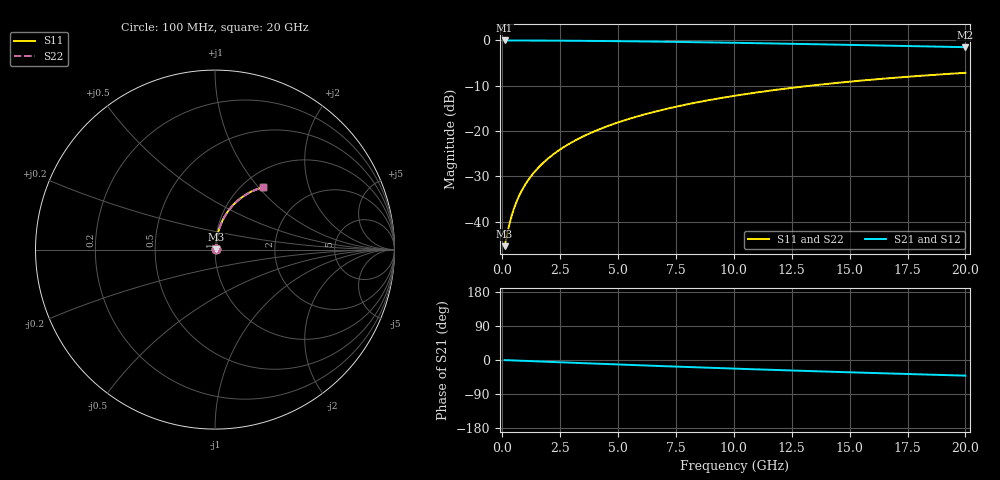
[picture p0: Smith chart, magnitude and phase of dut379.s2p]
! Touchstone file exported from HFSS 2024.1.0
!  File:  C:/UserFiles/LocalFiles/RDL_TSV_Batchsim/temp_RDL_top_379_1779609324.aedt
!  Generated:  03:57:59 PM May 24, 2026
!  Design:  RDL_top
!  Project:  temp_RDL_top_379_1779609324
!  Setup:  Setup1
!  Solution:  Sweep
! Variables:
!  dtsv = 10.80580581um
!  hbump = 3um
!  htsv = 82.08um
!  ldown = 100um
!  lrdl = 552.55um
!  p = 40
!  p1 = 44.11um
!  rhole = 1um
!  t = 450um
!  tdown = 3.915915916um
!  trdl = 3.06um
!  wdown = 15.38538539um
!  wrdl = 13.87um
# GHz S MA R 50.000000
! Terminal data exported
! Port[1] = Box2_T1
! Port[2] = Box2_T2
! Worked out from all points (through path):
!   200 points, 100 MHz to 20 GHz, reference 50 ohm
!   highest |S21| = -0.04 dB at 100 MHz (marker M1); lowest = -1.5 dB at 20 GHz (marker M2)
!   group delay of S21, straight-line fit = 5.73 ps
!   lowest |S11| = -45.3 dB at 100 MHz (marker M3), VSWR 1.01, Z = 50.5 + j0.266 ohm
!   |S11| at or under -10 dB: start of sweep to 13.31 GHz
!   |S22| runs from -45.3 to -7.2 dB; largest |S21 - S12| = 3.1e-15
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0.1  0.005405 29.2  0.9953 -0.2  0.9953 -0.2  0.005405 29.2
! Gamma 0 0 0 0
! Port Impedance 50 0 50 0
0.3  0.009261 57.7  0.9951 -0.7  0.9951 -0.7  0.009261 57.7
0.4  0.01156 63.8  0.9949 -1.0  0.9949 -1.0  0.01156 63.8
0.5  0.01392 67.7  0.9947 -1.2  0.9947 -1.2  0.01392 67.7
0.6  0.01631 70.4  0.9946 -1.5  0.9946 -1.5  0.01631 70.4
0.8  0.02112 74.0  0.9942 -2.0  0.9942 -2.0  0.02112 74.0
1  0.02596 76.2  0.9939 -2.4  0.9939 -2.4  0.02596 76.1
1.2  0.03082 77.6  0.9935 -2.9  0.9935 -2.9  0.03082 77.6
1.4  0.03571 78.6  0.9931 -3.4  0.9931 -3.4  0.03571 78.6
1.7  0.04307 79.5  0.9924 -4.1  0.9924 -4.1  0.04307 79.5
2.2  0.05538 80.2  0.991 -5.3  0.991 -5.3  0.05538 80.2
2.8  0.07022 80.3  0.9889 -6.7  0.9889 -6.7  0.07021 80.3
3.5  0.08755 79.9  0.986 -8.4  0.986 -8.4  0.08754 79.9
4.2  0.1049 79.2  0.9825 -10.0  0.9825 -10.0  0.1049 79.2
5  0.1246 78.2  0.9779 -11.8  0.9779 -11.8  0.1246 78.2
5.9  0.1467 76.9  0.972 -13.9  0.972 -13.9  0.1467 76.9
6.8  0.1686 75.4  0.9655 -15.9  0.9655 -15.9  0.1686 75.4
8.3  0.2046 72.9  0.9535 -19.1  0.9535 -19.1  0.2045 72.8
10.1  0.2464 69.6  0.9376 -22.9  0.9376 -22.9  0.2463 69.6
13.4  0.3181 63.7  0.9059 -29.5  0.9059 -29.5  0.3179 63.6
16.7  0.3822 57.8  0.8726 -35.6  0.8726 -35.6  0.3819 57.8
20  0.4382 52.3  0.8392 -41.2  0.8392 -41.2  0.4379 52.3
